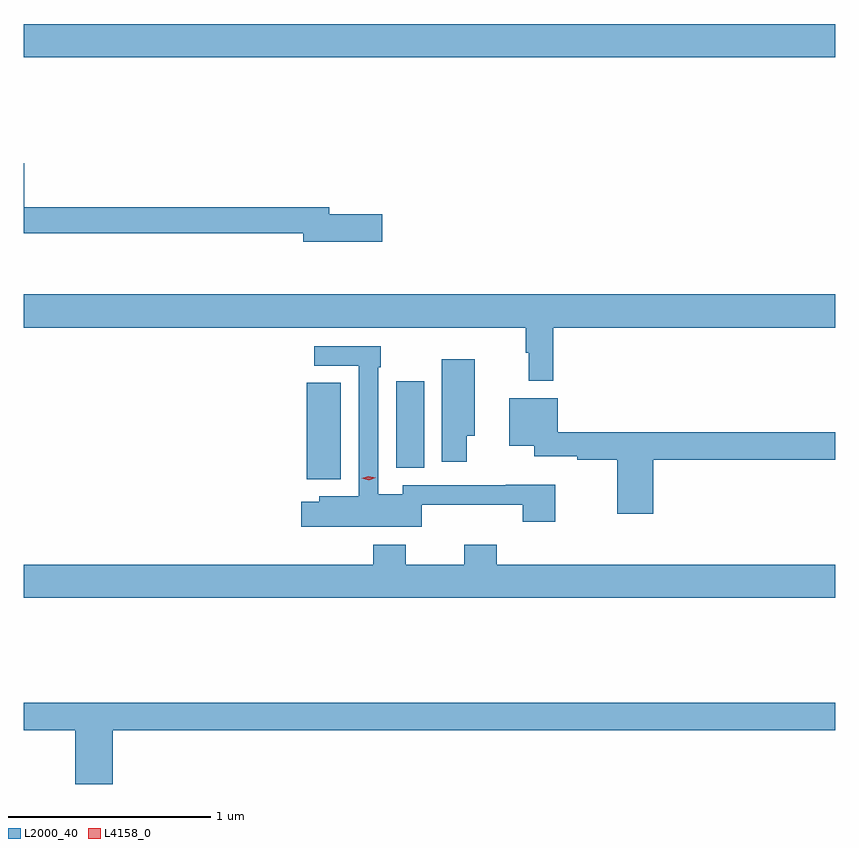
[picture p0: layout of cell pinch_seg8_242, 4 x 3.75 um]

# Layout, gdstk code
import gdstk
lib = gdstk.Library(unit=1e-6, precision=1e-09)
def R(c, l, rs):  # rectangles x0, y0, x1, y1
    for r in rs: c.add(gdstk.rectangle(r[:2], r[2:], *l))
def P(c, l, *ps):  # polygons
    for p in ps: c.add(gdstk.Polygon(p, *l))
L2000_40 = (2000, 40)
L4158_0 = (4158, 0)

pinch_seg8_242 = lib.new_cell('pinch_seg8_242')
R(pinch_seg8_242, L2000_40, [(771.866,1107.761,772.033,1108.235), (772.307,1107.817,772.444,1108.243), (770.471,1109.84,774.471,1110.004)])
P(pinch_seg8_242, L2000_40, [(772.237,1109.066),(771.976,1109.066),(771.976,1109.102),(770.473,1109.102),(770.473,1109.317),(770.471,1109.317),(770.471,1108.974),(771.848,1108.974),(771.848,1108.931),(772.237,1108.931)],
  [(773.081,1108.508),(774.471,1108.508),(774.471,1108.672),(770.471,1108.672),(770.471,1108.508),(772.945,1108.508),(772.945,1108.385),(772.96,1108.385),(772.96,1108.245),(773.081,1108.245)],
  [(772.434,1107.635),(772.931,1107.635),(772.931,1107.552),(773.091,1107.552),(773.091,1107.733),(772.847,1107.733),(772.847,1107.732),(772.338,1107.732),(772.338,1107.688),(772.218,1107.688),(772.218,1108.313),(772.231,1108.313),(772.231,1108.416),(771.903,1108.416),(771.903,1108.32),(772.122,1108.32),(772.122,1107.676),(771.927,1107.676),(771.927,1107.649),(771.84,1107.649),(771.84,1107.527),(772.434,1107.527)],
  [(772.654,1107.974),(772.693,1107.974),(772.693,1108.351),(772.532,1108.351),(772.532,1107.846),(772.654,1107.846)],
  [(773.573,1107.856),(774.471,1107.856),(774.471,1107.992),(773.104,1107.992),(773.104,1108.159),(772.865,1108.159),(772.865,1107.926),(772.988,1107.926),(772.988,1107.875),(773.2,1107.875),(773.2,1107.856),(773.395,1107.856),(773.395,1107.591),(773.573,1107.591)],
  [(774.471,1107.34),(772.802,1107.34),(772.802,1107.439),(772.642,1107.439),(772.642,1107.34),(772.353,1107.34),(772.353,1107.439),(772.193,1107.439),(772.193,1107.34),(770.471,1107.34),(770.471,1107.176),(774.471,1107.176)],
  [(770.909,1106.524),(774.471,1106.524),(774.471,1106.66),(770.471,1106.66),(770.471,1106.524),(770.726,1106.524),(770.726,1106.259),(770.909,1106.259)])
P(pinch_seg8_242, L4158_0, [(772.171,1107.756),(772.136,1107.765),(772.136,1107.765),(772.136,1107.766),(772.17,1107.776),(772.205,1107.768),(772.205,1107.768),(772.205,1107.767)])

lib.write_gds('pinch_seg8_242.gds')
